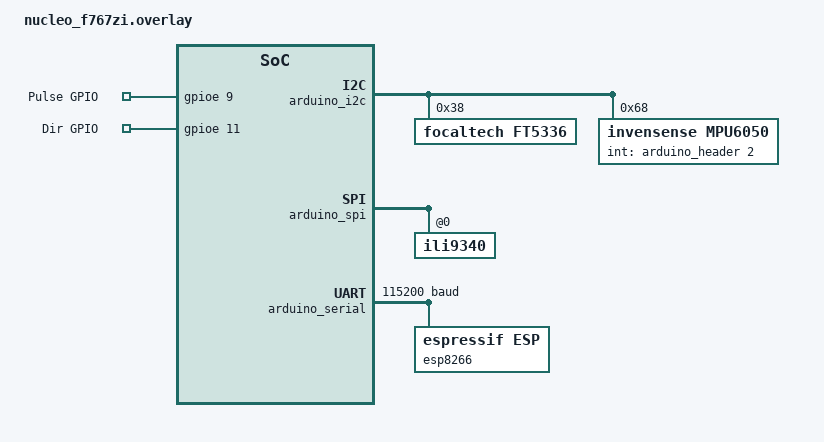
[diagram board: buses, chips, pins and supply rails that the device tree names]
/*
 *
 * SPDX-License-Identifier: Apache-2.0
 */
 / {
	gpio_keys {
		compatible = "gpio-keys";
		pulse_gpio: pulse_gpio {
			gpios = <&gpioe 9 GPIO_ACTIVE_HIGH>; /* D6 */
			label = "Pulse GPIO";
		};
		dir_gpio: dir_gpio {
			gpios = <&gpioe 11 GPIO_ACTIVE_HIGH>; /* D5 */
			label = "Dir GPIO";
		};
	};
	aliases {
		pulse = &pulse_gpio;
        dir = &dir_gpio;
	};
};

&arduino_i2c {
	status = "okay";
	touch_controller: ft5336@38 {
		compatible = "focaltech,ft5336";
		reg = <0x38>;
		label = "FT5336";
		/* Uncomment if IRQ line is available (requires to solder jumper) */
		/* int-gpios = <&arduino_header 13 GPIO_ACTIVE_LOW>; */ /* D7 */
	};

	mpu6050@68 {
		compatible = "invensense,mpu6050";
		reg = <0x68>;
		status = "okay";
		label = "MPU6050";
		int-gpios = <&arduino_header 2 GPIO_ACTIVE_HIGH>; /* D7 */
	};
};

&arduino_spi {
	ili9340@0 {
		rotation = < 90 >;
	};
};

&arduino_serial {
	status = "okay";
	current-speed = <115200>;

	esp8266 {
		compatible = "espressif,esp";
		label = "esp8266";
		status = "okay";
	};
};
